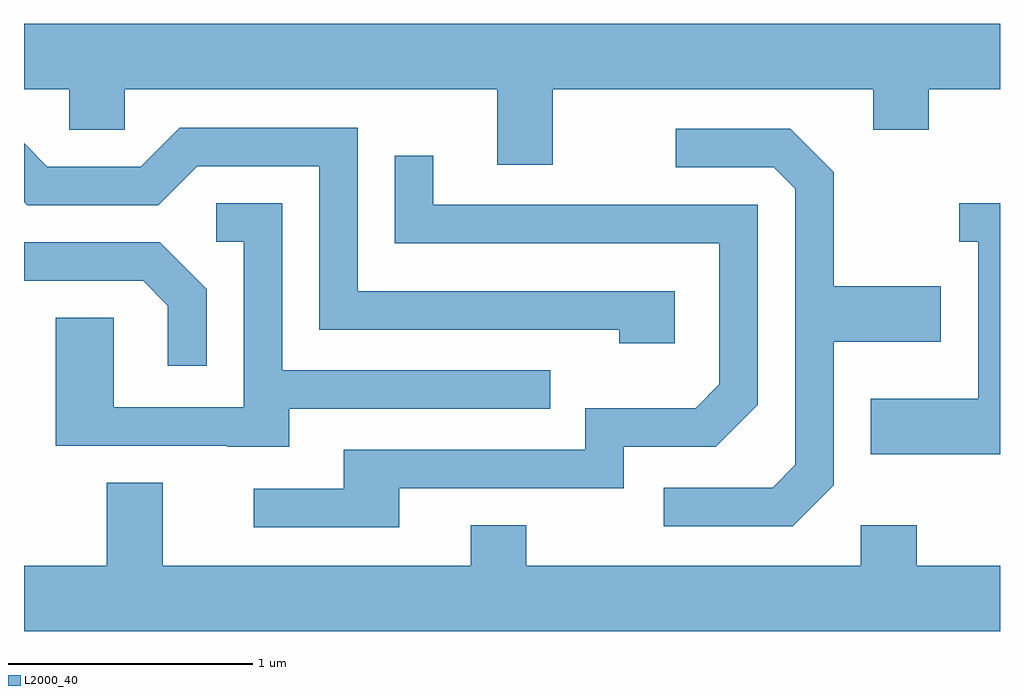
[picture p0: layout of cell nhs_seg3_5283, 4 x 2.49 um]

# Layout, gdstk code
import gdstk
lib = gdstk.Library(unit=1e-6, precision=1e-09)
def P(c, l, *ps):  # polygons
    for p in ps: c.add(gdstk.Polygon(p, *l))
L2000_40 = (2000, 40)

nhs_seg3_5283 = lib.new_cell('nhs_seg3_5283')
P(nhs_seg3_5283, L2000_40, [(341.779,1221.476),(343.091,1221.476),(343.091,1221.311),(343.319,1221.311),(343.319,1221.476),(343.611,1221.476),(343.611,1221.744),(339.611,1221.744),(339.611,1221.476),(339.796,1221.476),(339.796,1221.311),(340.024,1221.311),(340.024,1221.476),(341.551,1221.476),(341.551,1221.166),(341.779,1221.166)],
  [(342.279,1220.649),(340.979,1220.649),(340.979,1221.319),(340.249,1221.319),(340.089,1221.159),(339.707,1221.159),(339.611,1221.255),(339.611,1221.014),(339.624,1221.001),(340.162,1221.001),(340.322,1221.161),(340.821,1221.161),(340.821,1220.491),(342.051,1220.491),(342.051,1220.436),(342.279,1220.436)],
  [(342.929,1219.854),(342.929,1220.441),(343.369,1220.441),(343.369,1220.669),(342.929,1220.669),(342.929,1221.137),(342.752,1221.314),(342.283,1221.314),(342.283,1221.156),(342.684,1221.156),(342.771,1221.069),(342.771,1219.937),(342.679,1219.844),(342.233,1219.844),(342.233,1219.686),(342.762,1219.686)],
  [(341.149,1219.841),(342.069,1219.841),(342.069,1220.011),(342.447,1220.011),(342.619,1220.184),(342.619,1221.004),(341.289,1221.004),(341.289,1221.203),(341.131,1221.203),(341.131,1220.846),(342.461,1220.846),(342.461,1220.267),(342.364,1220.169),(341.911,1220.169),(341.911,1219.999),(340.921,1219.999),(340.921,1219.839),(340.553,1219.839),(340.553,1219.681),(341.149,1219.681)],
  [(340.699,1220.166),(341.768,1220.166),(341.768,1220.324),(340.669,1220.324),(340.669,1221.009),(340.398,1221.009),(340.398,1220.851),(340.511,1220.851),(340.511,1220.174),(339.979,1220.174),(339.979,1220.539),(339.741,1220.539),(339.741,1220.016),(340.445,1220.016),(340.445,1220.011),(340.699,1220.011)],
  [(343.611,1221.009),(343.443,1221.009),(343.443,1220.851),(343.521,1220.851),(343.521,1220.209),(343.081,1220.209),(343.081,1219.981),(343.611,1219.981)],
  [(340.359,1220.657),(340.167,1220.849),(339.611,1220.849),(339.611,1220.691),(340.099,1220.691),(340.201,1220.589),(340.201,1220.343),(340.359,1220.343)],
  [(343.611,1219.524),(343.269,1219.524),(343.269,1219.689),(343.041,1219.689),(343.041,1219.524),(341.669,1219.524),(341.669,1219.689),(341.441,1219.689),(341.441,1219.524),(340.179,1219.524),(340.179,1219.864),(339.951,1219.864),(339.951,1219.524),(339.611,1219.524),(339.611,1219.256),(343.611,1219.256)])

lib.write_gds('nhs_seg3_5283.gds')
